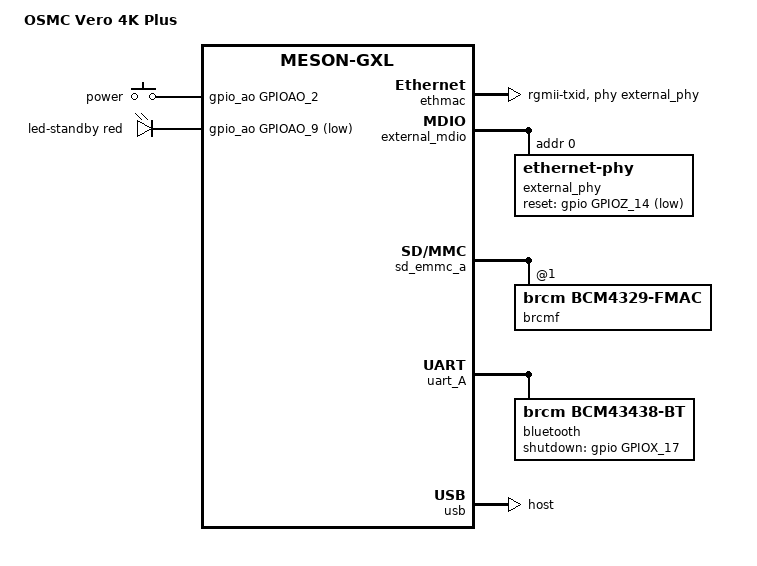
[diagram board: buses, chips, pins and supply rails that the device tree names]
// SPDX-License-Identifier: (GPL-2.0+ OR MIT)
/*
 * Author: Christian Hewitt <christianshewitt@gmail.com>
 */

/dts-v1/;

#include "meson-gxl-s905d.dtsi"
#include "meson-gx-p23x-q20x.dtsi"
#include <dt-bindings/input/input.h>
#include <dt-bindings/leds/common.h>

/ {
	compatible = "osmc,vero4k-plus", "amlogic,s905d", "amlogic,meson-gxl";
	model = "OSMC Vero 4K Plus";

	gpio-keys-polled {
		compatible = "gpio-keys-polled";
		poll-interval = <20>;

		button {
			label = "power";
			linux,code = <KEY_POWER>;
			gpios = <&gpio_ao GPIOAO_2 GPIO_ACTIVE_HIGH>;
		};
	};

	leds {
		compatible = "gpio-leds";

		led-standby {
			color = <LED_COLOR_ID_RED>;
			function = LED_FUNCTION_POWER;
			gpios = <&gpio_ao GPIOAO_9 GPIO_ACTIVE_LOW>;
			default-state = "off";
			panic-indicator;
		};
	};
};

&ethmac {
	pinctrl-0 = <&eth_pins>;
	pinctrl-names = "default";

	phy-mode = "rgmii-txid";
	phy-handle = <&external_phy>;

	amlogic,tx-delay-ns = <0>;
};

&external_mdio {
	external_phy: ethernet-phy@0 {
		/* Realtek RTL8211F (0x001cc916) */
		pinctrl-0 = <&eth_phy_irq_pin>;
		pinctrl-names = "default";

		reg = <0>;
		max-speed = <1000>;

		reset-assert-us = <10000>;
		reset-deassert-us = <80000>;
		reset-gpios = <&gpio GPIOZ_14 GPIO_ACTIVE_LOW>;

		interrupt-parent = <&gpio_intc>;
		interrupts = <25 IRQ_TYPE_LEVEL_LOW>;
	};
};

&pinctrl_periphs {
	/* Ensure the phy irq pin is properly configured as input */
	eth_phy_irq_pin: eth-phy-irq {
		mux {
			groups = "GPIOZ_15";
			function = "gpio_periphs";
			bias-disable;
			output-disable;
		};
	};
};

&sd_emmc_a {
	brcmf: wifi@1 {
		reg = <1>;
		compatible = "brcm,bcm4329-fmac";
	};
};

&uart_A {
	status = "okay";
	pinctrl-0 = <&uart_a_pins>, <&uart_a_cts_rts_pins>;
	pinctrl-names = "default";
	uart-has-rtscts;

	bluetooth {
		compatible = "brcm,bcm43438-bt";
		shutdown-gpios = <&gpio GPIOX_17 GPIO_ACTIVE_HIGH>;
		max-speed = <2000000>;
		clocks = <&wifi32k>;
		clock-names = "lpo";
	};
};

&usb {
	dr_mode = "host";
};

&usb2_phy0 {
	/* HDMI_5V also supplies the USB VBUS */
	phy-supply = <&hdmi_5v>;
};

&usb2_phy0 {
	/* HDMI_5V also supplies the USB VBUS */
	phy-supply = <&hdmi_5v>;
};
